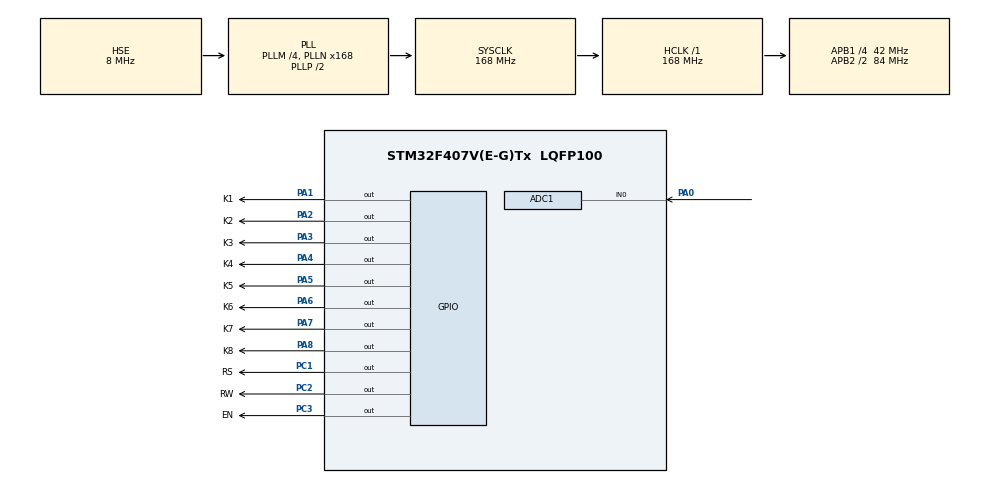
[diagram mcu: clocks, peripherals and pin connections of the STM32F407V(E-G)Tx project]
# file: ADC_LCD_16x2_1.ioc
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ADC1.Channel-0\#ChannelRegularConversion=ADC_CHANNEL_0
ADC1.NbrOfConversionFlag=1
ADC1.Rank-0\#ChannelRegularConversion=1
ADC1.SamplingTime-0\#ChannelRegularConversion=ADC_SAMPLETIME_3CYCLES
ADC1.master=1
Mcu.Family=STM32F4
Mcu.Name=STM32F407V(E-G)Tx
Mcu.Package=LQFP100
NVIC.PriorityGroup=NVIC_PRIORITYGROUP_0
PA0-WKUP.Signal=ADCx_IN0
PA1.GPIO_Label=K1
PA1.Signal=GPIO_Output
PA13.Mode=Serial_Wire
PA13.Signal=SYS_JTMS-SWDIO
PA14.Mode=Serial_Wire
PA14.Signal=SYS_JTCK-SWCLK
PA2.GPIO_Label=K2
PA2.Signal=GPIO_Output
PA3.GPIO_Label=K3
PA3.Signal=GPIO_Output
PA4.GPIO_Label=K4
PA4.Signal=GPIO_Output
PA5.GPIO_Label=K5
PA5.Signal=GPIO_Output
PA6.GPIO_Label=K6
PA6.Signal=GPIO_Output
PA7.GPIO_Label=K7
PA7.Signal=GPIO_Output
PA8.GPIO_Label=K8
PA8.Signal=GPIO_Output
PC1.GPIO_Label=RS
PC1.Signal=GPIO_Output
PC2.GPIO_Label=RW
PC2.Signal=GPIO_Output
PC3.GPIO_Label=EN
PC3.Signal=GPIO_Output
PH0-OSC_IN.Mode=HSE-External-Oscillator
PH0-OSC_IN.Signal=RCC_OSC_IN
PH1-OSC_OUT.Mode=HSE-External-Oscillator
PH1-OSC_OUT.Signal=RCC_OSC_OUT
ProjectManager.HeapSize=0x200
ProjectManager.StackSize=0x400
ProjectManager.TargetToolchain=STM32CubeIDE
RCC.48MHZClocksFreq_Value=48000000
RCC.AHBFreq_Value=168000000
RCC.APB1CLKDivider=RCC_HCLK_DIV4
RCC.APB1Freq_Value=42000000
RCC.APB1TimFreq_Value=84000000
RCC.APB2CLKDivider=RCC_HCLK_DIV2
RCC.APB2Freq_Value=84000000
RCC.APB2TimFreq_Value=168000000
RCC.CortexFreq_Value=168000000
RCC.HCLKFreq_Value=168000000
RCC.HSE_VALUE=8000000
RCC.HSI_VALUE=16000000
RCC.PLLM=4
RCC.PLLN=168
RCC.PLLQ=7
RCC.PLLSourceVirtual=RCC_PLLSOURCE_HSE
RCC.SYSCLKFreq_VALUE=168000000
RCC.SYSCLKSource=RCC_SYSCLKSOURCE_PLLCLK
RCC.VCOOutputFreq_Value=336000000
SH.ADCx_IN0.0=ADC1_IN0,IN0
board=STM32F407G-DISC1

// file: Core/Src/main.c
/* USER CODE BEGIN Header */
/**
  ******************************************************************************
  * @file           : main.c
  * @brief          : Main program body
  ******************************************************************************
  * @attention
  *
  * Copyright (c) 2026 STMicroelectronics.
  * All rights reserved.
  *
  * This software is licensed under terms that can be found in the LICENSE file
  * in the root directory of this software component.
  * If no LICENSE file comes with this software, it is provided AS-IS.
  *
  ******************************************************************************
  */
/* USER CODE END Header */
#include "main.h"

/* USER CODE BEGIN Includes */

#include "stdio.h"

/* USER CODE END Includes */

ADC_HandleTypeDef hadc1;

/* USER CODE BEGIN PV */

uint16_t arr[]={K1_Pin,K2_Pin,K3_Pin,K4_Pin,K5_Pin,K6_Pin,K7_Pin,K8_Pin};//data pin for D0 to D7
uint16_t adc_value=0;
char arr1[10];
int i=0;

/* USER CODE END PV */

void SystemClock_Config(void);
static void MX_GPIO_Init(void);
static void MX_ADC1_Init(void);
/* USER CODE BEGIN PFP */

void Data_Write(uint8_t data);
void LCD_Command(uint8_t command);
void LCD_Data(uint8_t data);
void LCD_Initialize();
void LCD_Location(uint8_t Row,uint8_t Col);
void LCD_String(const char*ptr);

/* USER CODE END PFP */

/* USER CODE BEGIN 0 */

uint16_t adc_value;

/* USER CODE END 0 */

int main(void)
{

  /* MCU Configuration--------------------------------------------------------*/

  /* Reset of all peripherals, Initializes the Flash interface and the Systick. */
  HAL_Init();

  /* Configure the system clock */
  SystemClock_Config();

  /* Initialize all configured peripherals */
  MX_GPIO_Init();
  MX_ADC1_Init();
  /* USER CODE BEGIN 2 */

  LCD_Initialize();

  /* USER CODE END 2 */

  /* Infinite loop */
  /* USER CODE BEGIN WHILE */
  while (1)
  {

	     HAL_ADC_Start(&hadc1);

		  if(HAL_ADC_PollForConversion(&hadc1, HAL_MAX_DELAY)==HAL_OK)
		  {
			  adc_value = HAL_ADC_GetValue(&hadc1);
			  /*sprintf(adcbuffer8,"adc_value = %lu",adc_value);
			  HAL_UART_Transmit(&huart2, (uint8_t *)adcbuffer8, strlen(adcbuffer8) , HAL_MAX_DELAY);
			  HAL_UART_Transmit(&huart2, (uint8_t *)newline, strlen(newline) , HAL_MAX_DELAY);*/
		  }

		  HAL_ADC_Stop(&hadc1);

		  sprintf(arr1,"%04d",adc_value);
		  LCD_Location(1,0);
		  LCD_String("ADC VALUE");
		  LCD_Location(2,0);
		  LCD_String(arr1);

    /* USER CODE END WHILE */

  }
}

void SystemClock_Config(void)
{
  RCC_OscInitTypeDef RCC_OscInitStruct = {0};
  RCC_ClkInitTypeDef RCC_ClkInitStruct = {0};

  /** Configure the main internal regulator output voltage
  */
  __HAL_RCC_PWR_CLK_ENABLE();
  __HAL_PWR_VOLTAGESCALING_CONFIG(PWR_REGULATOR_VOLTAGE_SCALE1);

  /** Initializes the RCC Oscillators according to the specified parameters
  * in the RCC_OscInitTypeDef structure.
  */
  RCC_OscInitStruct.OscillatorType = RCC_OSCILLATORTYPE_HSE;
  RCC_OscInitStruct.HSEState = RCC_HSE_ON;
  RCC_OscInitStruct.PLL.PLLState = RCC_PLL_ON;
  RCC_OscInitStruct.PLL.PLLSource = RCC_PLLSOURCE_HSE;
  RCC_OscInitStruct.PLL.PLLM = 4;
  RCC_OscInitStruct.PLL.PLLN = 168;
  RCC_OscInitStruct.PLL.PLLP = RCC_PLLP_DIV2;
  RCC_OscInitStruct.PLL.PLLQ = 7;
  if (HAL_RCC_OscConfig(&RCC_OscInitStruct) != HAL_OK)
  {
    Error_Handler();
  }

  /** Initializes the CPU, AHB and APB buses clocks
  */
  RCC_ClkInitStruct.ClockType = RCC_CLOCKTYPE_HCLK|RCC_CLOCKTYPE_SYSCLK
                              |RCC_CLOCKTYPE_PCLK1|RCC_CLOCKTYPE_PCLK2;
  RCC_ClkInitStruct.SYSCLKSource = RCC_SYSCLKSOURCE_PLLCLK;
  RCC_ClkInitStruct.AHBCLKDivider = RCC_SYSCLK_DIV1;
  RCC_ClkInitStruct.APB1CLKDivider = RCC_HCLK_DIV4;
  RCC_ClkInitStruct.APB2CLKDivider = RCC_HCLK_DIV2;

  if (HAL_RCC_ClockConfig(&RCC_ClkInitStruct, FLASH_LATENCY_5) != HAL_OK)
  {
    Error_Handler();
  }
}

static void MX_ADC1_Init(void)
{

  ADC_ChannelConfTypeDef sConfig = {0};

  /** Configure the global features of the ADC (Clock, Resolution, Data Alignment and number of conversion)
  */
  hadc1.Instance = ADC1;
  hadc1.Init.ClockPrescaler = ADC_CLOCK_SYNC_PCLK_DIV4;
  hadc1.Init.Resolution = ADC_RESOLUTION_12B;
  hadc1.Init.ScanConvMode = DISABLE;
  hadc1.Init.ContinuousConvMode = DISABLE;
  hadc1.Init.DiscontinuousConvMode = DISABLE;
  hadc1.Init.ExternalTrigConvEdge = ADC_EXTERNALTRIGCONVEDGE_NONE;
  hadc1.Init.ExternalTrigConv = ADC_SOFTWARE_START;
  hadc1.Init.DataAlign = ADC_DATAALIGN_RIGHT;
  hadc1.Init.NbrOfConversion = 1;
  hadc1.Init.DMAContinuousRequests = DISABLE;
  hadc1.Init.EOCSelection = ADC_EOC_SINGLE_CONV;
  if (HAL_ADC_Init(&hadc1) != HAL_OK)
  {
    Error_Handler();
  }

  /** Configure for the selected ADC regular channel its corresponding rank in the sequencer and its sample time.
  */
  sConfig.Channel = ADC_CHANNEL_0;
  sConfig.Rank = 1;
  sConfig.SamplingTime = ADC_SAMPLETIME_3CYCLES;
  if (HAL_ADC_ConfigChannel(&hadc1, &sConfig) != HAL_OK)
  {
    Error_Handler();
  }

}

static void MX_GPIO_Init(void)
{
  GPIO_InitTypeDef GPIO_InitStruct = {0};

  /* GPIO Ports Clock Enable */
  __HAL_RCC_GPIOH_CLK_ENABLE();
  __HAL_RCC_GPIOC_CLK_ENABLE();
  __HAL_RCC_GPIOA_CLK_ENABLE();

  /*Configure GPIO pin Output Level */
  HAL_GPIO_WritePin(GPIOC, RS_Pin|RW_Pin|EN_Pin, GPIO_PIN_RESET);

  /*Configure GPIO pin Output Level */
  HAL_GPIO_WritePin(GPIOA, K1_Pin|K2_Pin|K3_Pin|K4_Pin
                          |K5_Pin|K6_Pin|K7_Pin|K8_Pin, GPIO_PIN_RESET);

  /*Configure GPIO pins : RS_Pin RW_Pin EN_Pin */
  GPIO_InitStruct.Pin = RS_Pin|RW_Pin|EN_Pin;
  GPIO_InitStruct.Mode = GPIO_MODE_OUTPUT_PP;
  GPIO_InitStruct.Pull = GPIO_NOPULL;
  GPIO_InitStruct.Speed = GPIO_SPEED_FREQ_LOW;
  HAL_GPIO_Init(GPIOC, &GPIO_InitStruct);

  /*Configure GPIO pins : K1_Pin K2_Pin K3_Pin K4_Pin
                           K5_Pin K6_Pin K7_Pin K8_Pin */
  GPIO_InitStruct.Pin = K1_Pin|K2_Pin|K3_Pin|K4_Pin
                          |K5_Pin|K6_Pin|K7_Pin|K8_Pin;
  GPIO_InitStruct.Mode = GPIO_MODE_OUTPUT_PP;
  GPIO_InitStruct.Pull = GPIO_NOPULL;
  GPIO_InitStruct.Speed = GPIO_SPEED_FREQ_LOW;
  HAL_GPIO_Init(GPIOA, &GPIO_InitStruct);

}

/* USER CODE BEGIN 4 */

void Data_Write(uint8_t data)
{
	for(i=0;i<8;i++)
	{
		HAL_GPIO_WritePin(GPIOA,arr[i],((data>>i)&0x01)?1:0);
	}
}

void LCD_Command(uint8_t command)
{
	HAL_GPIO_WritePin(GPIOC, GPIO_PIN_1, GPIO_PIN_RESET);//accessing command register of lcd
	HAL_GPIO_WritePin(GPIOC, GPIO_PIN_2, GPIO_PIN_RESET);//performing write operation
	Data_Write(command);
	HAL_GPIO_WritePin(GPIOC, GPIO_PIN_3, GPIO_PIN_RESET);//enable pin is low
	HAL_Delay(5);
	HAL_GPIO_WritePin(GPIOC, GPIO_PIN_3, GPIO_PIN_SET);// enable pin is high
	HAL_Delay(5);
}

void LCD_Data(uint8_t data)
{
	HAL_GPIO_WritePin(GPIOC, GPIO_PIN_1, GPIO_PIN_SET);//accessing data register
	HAL_GPIO_WritePin(GPIOC, GPIO_PIN_2, GPIO_PIN_RESET);//writing data
	Data_Write(data);
	HAL_GPIO_WritePin(GPIOC, GPIO_PIN_3, GPIO_PIN_RESET);//enable pin is low
	HAL_Delay(5);
	HAL_GPIO_WritePin(GPIOC, GPIO_PIN_3, GPIO_PIN_SET);// enale pin is high
	HAL_Delay(5);

}

void LCD_Initialize()
{
	LCD_Command(0X01);//Clearing display
	LCD_Command(0X02);//Return home
	LCD_Command(0X06);//Shift cursor
	LCD_Command(0X38);//8bit mode operation
	LCD_Command(0X0C);//Display on ,cursor off
}

void LCD_Location(uint8_t Row,uint8_t Col)
{
	if(Row==2)
	{
		LCD_Command(0XC0|Col);

	}
	else
	{
		LCD_Command(0X80|Col);

    }
}

void LCD_String(const char*ptr)
{
	while(*ptr!='\0')
	{
		LCD_Data(*ptr++);
	}
}

/* USER CODE END 4 */

void Error_Handler(void)
{
  __disable_irq();
  while (1)
  {
  }
}
